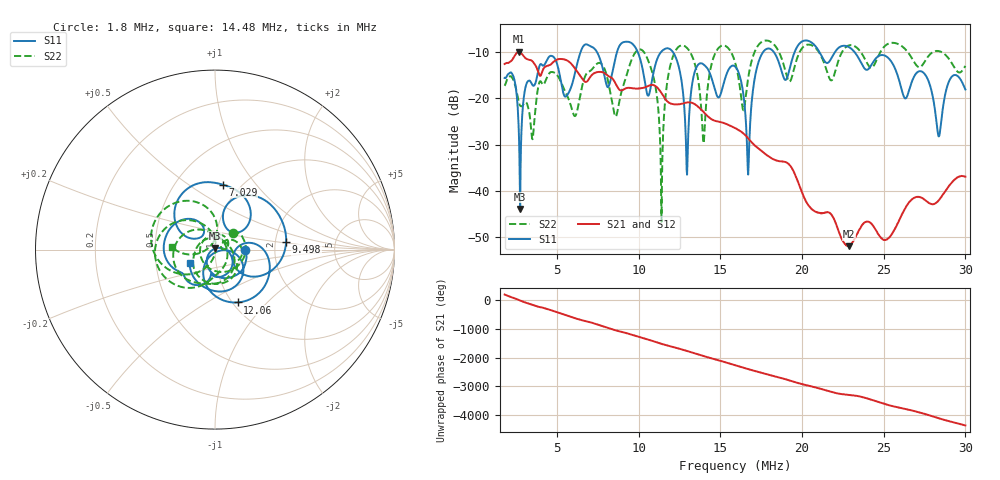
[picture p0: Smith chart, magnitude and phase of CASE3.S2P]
!Agilent Technologies,E5061B,MY49101568,A.02.00
!Date: Wed Mar 01 15:53:01 2023
!Data & Calibration Information:
!Freq	S11:SOLT2(OFF)	S21:SOLT2(OFF)	S12:SOLT2(OFF)	S22:SOLT2(OFF)
# Hz S dB R 50
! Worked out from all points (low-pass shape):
!   1155 points, 1.8 MHz to 30 MHz, reference 50 ohm
!   highest |S21| = -10.01 dB at 2.655 MHz (marker M1); lowest = -51.9 dB at 22.86 MHz (marker M2)
!   |S21| within 3 dB of the highest: start of sweep to 3.701 MHz; 4.456 MHz to 5.981 MHz (1.525 MHz wide, 29.2 % of centre)
!   lowest |S11| = -43.9 dB at 2.753 MHz (marker M3), VSWR 1.01, Z = 50.1 + j0.627 ohm
!   |S11| at or under -10 dB: start of sweep to 6.455 MHz; 12.09 MHz to 17.63 MHz (5.547 MHz wide, 37.3 % of centre); 23.2 MHz to end of sweep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
!   |S22| runs from -46.7 to -7.6 dB; largest |S21 - S12| = 0.0039
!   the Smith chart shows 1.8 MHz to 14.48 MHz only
!   S11 on the Smith chart (normalised r, x): 1.8 MHz: 1.40, -0.01; 7.029 MHz: 0.83, +0.69; 9.498 MHz: 2.30, +0.23; 12.06 MHz: 1.05, -0.69; 14.48 MHz: 0.74, -0.12
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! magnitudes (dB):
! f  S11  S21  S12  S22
! 1.8 MHz  -15.6  -12.6  -12.6  -17.3
! 2.655 MHz  -25.8  -10.0  -10.0  -20.7
! 2.753 MHz  -43.9  -10.1  -10.1  -21.6
! 3.217 MHz  -16.4  -11.6  -11.7  -21.7
! 6.516 MHz  -9.4  -15.6  -15.6  -17.8
! 7.029 MHz  -8.8  -15.5  -15.4  -14.1
! 8.593 MHz  -11.2  -16.9  -16.9  -24.0
! 9.498 MHz  -8.0  -17.8  -17.8  -12.4
! 11.21 MHz  -11.0  -18.0  -18.0  -22.5
! 11.43 MHz  -9.8  -19.1  -19.1  -38.5
! 12.06 MHz  -9.9  -21.3  -21.3  -11.4
! 12.97 MHz  -36.5  -20.9  -21.0  -9.2
! 13.97 MHz  -12.7  -23.0  -23.0  -29.7
! 14.48 MHz  -15.9  -24.6  -24.6  -12.4
! 15.9 MHz  -13.2  -26.4  -26.5  -12.2
! 16.71 MHz  -36.5  -28.7  -28.7  -15.7
! 17.59 MHz  -10.2  -31.6  -31.7  -7.8
! 20.62 MHz  -8.1  -44.0  -43.9  -8.6
! 22.86 MHz  -9.0  -51.9  -51.8  -8.6
! 25.31 MHz  -11.4  -50.1  -50.1  -8.2
! 28.36 MHz  -28.2  -42.1  -42.0  -9.9
! 30 MHz  -18.1  -36.9  -36.9  -13.0
